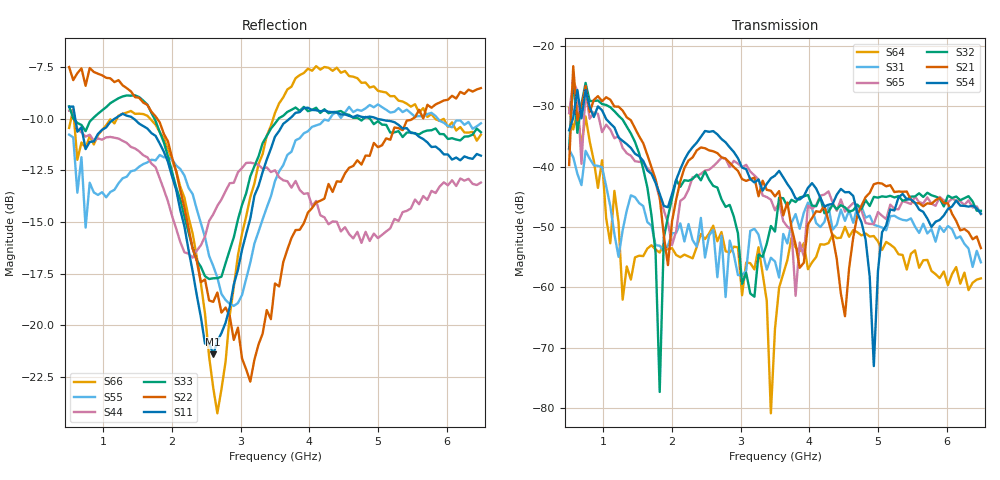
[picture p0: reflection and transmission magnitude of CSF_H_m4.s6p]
!Keysight Technologies,M9804A,MY58100912,A.14.10.03
!Date: Thursday, April 27, 2023 10:28:33
!Correction: S11(C  6-Port  )
!S12(C  6-Port  )
!S13(C  6-Port  )
!S14(C  6-Port  )
!S15(C  6-Port  )
!S16(C  6-Port  )
!S21(C  6-Port  )
!S22(C  6-Port  )
!S23(C  6-Port  )
!S24(C  6-Port  )
!S25(C  6-Port  )
!S26(C  6-Port  )
!S31(C  6-Port  )
!S32(C  6-Port  )
!S33(C  6-Port  )
!S34(C  6-Port  )
!S35(C  6-Port  )
!S36(C  6-Port  )
!S41(C  6-Port  )
!S42(C  6-Port  )
!S43(C  6-Port  )
!S44(C  6-Port  )
!S45(C  6-Port  )
!S46(C  6-Port  )
!S51(C  6-Port  )
!S52(C  6-Port  )
!S53(C  6-Port  )
!S54(C  6-Port  )
!S55(C  6-Port  )
!S56(C  6-Port  )
!S61(C  6-Port  )
!S62(C  6-Port  )
!S63(C  6-Port  )
!S64(C  6-Port  )
!S65(C  6-Port  )
!S66(C  6-Port  )
!S6P File: Measurement: :
# Hz S  RI  R 50
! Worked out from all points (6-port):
!   101 points, 500 MHz to 6.5 GHz, reference 50 ohm
!   strongest paths, dB at 500 MHz, 2 GHz, 3.5 GHz, 5 GHz, 6.5 GHz:
!     S54: -34.0, -44.5, -41.5, -57.3, -47.8
!     S21: -39.7, -49.0, -44.9, -42.7, -53.5
!     S32: -37.0, -45.3, -50.8, -45.1, -47.3
!     S65: -31.1, -53.0, -47.2, -47.5, -47.9
!     S31: -37.1, -51.0, -55.7, -49.8, -55.8
!     S64: -30.3, -53.5, -66.8, -52.4, -58.5
!   lowest |S11| = -21.4 dB at 2.6 GHz (marker M1), VSWR 1.19, Z = 42.4 + j2.19 ohm
!   |S11| at or under -10 dB: 588.9 MHz to 1.165 GHz (576.1 MHz wide, 65.7 % of centre); 1.44 GHz to 3.713 GHz (2.273 GHz wide, 88.2 % of centre); 4.986 GHz to end of sweep
